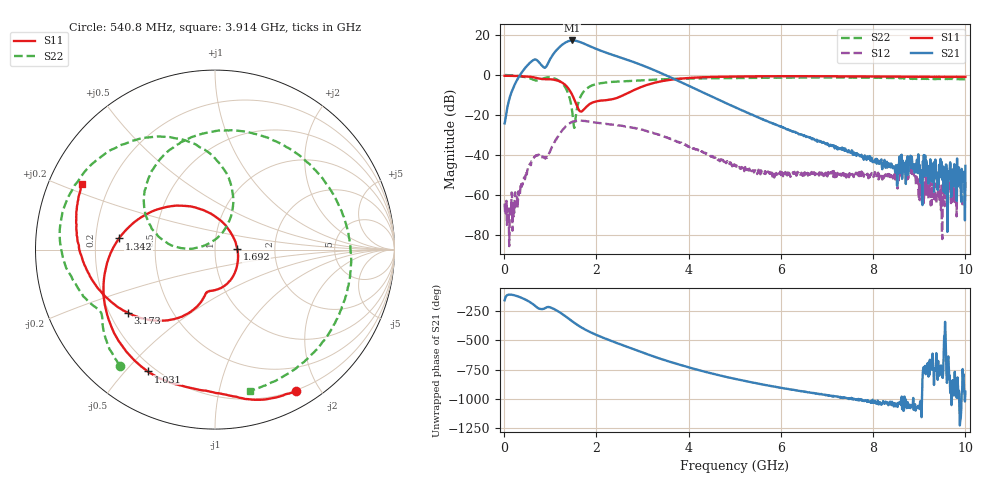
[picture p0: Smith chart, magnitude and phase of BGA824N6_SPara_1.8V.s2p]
!Product: BGA824N6
!Optimize for 1550 - 1615 MHz
!Port Description: Port1: RFIN / Port2: RFOUT
!VDD = 1.8V
!PON = 1.8V
!Keysight Technologies,N5247B
!12/27/2021 12:11:12 PM
# Hz S dB R 50
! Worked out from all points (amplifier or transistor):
!   999 points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, 10.31 MHz to 10 GHz, reference 50 ohm
!   highest |S21| = 17.3 dB at 1.472 GHz (marker M1)
!   |S21| within 3 dB of that: 1.215 GHz to 1.872 GHz (656.5 MHz wide, 42.5 % of centre)
!   unconditionally stable (mu >= 1): start of sweep to end of sweep
!   at 1.672 GHz: K = 1.19, MAG = 17.0 dB, |S12| = -22.9 dB
!   at 5.005 GHz: K = 28.48, MAG = -2.9 dB, |S12| = -45.4 dB
!   at 10 GHz: K = 3554.91, MAG = -34.5 dB, |S12| = -53.5 dB
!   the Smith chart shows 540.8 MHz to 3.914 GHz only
!   S11 on the Smith chart (normalised r, x): 540.8 MHz: 0.19, -1.71; 1.031 GHz: 0.17, -0.58; 1.342 GHz: 0.30, +0.05; 1.692 GHz: 1.28, +0.01; 3.173 GHz: 0.28, -0.30; 3.914 GHz: 0.10, +0.23
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1.030971e7  -0.41 -1.0  -24.23 -158.1  -64.43 24.1  -0.01 -2.8
5.408243e8  -0.83 -60.1  5.70 -169.2  -45.29 128.5  -1.55 -129.5
7.209991e8  -1.63 -81.7  7.22 138.6  -40.46 78.7  -2.74 -152.5
8.511253e8  -2.07 -94.7  4.02 128.3  -41.09 63.7  -1.77 -169.7
1.0313e9  -2.21 -118.9  9.23 136.5  -36.44 81.3  -1.38 153.5
1.181446e9  -2.99 -146.9  13.57 104.7  -30.27 57.6  -2.73 121.2
1.341601e9  -5.37 173.4  16.42 62.3  -25.64 21.0  -6.88 84.0
1.471727e9  -9.74 131.2  17.30 24.1  -23.46 -13.3  -17.61 64.0
1.561815e9  -14.51 91.2  17.10 -1.3  -22.99 -36.3  -19.30 175.3
1.681931e9  -18.30 7.7  16.19 -31.4  -22.96 -64.0  -9.73 166.7
1.691941e9  -18.08 1.0  16.10 -33.7  -22.94 -65.9  -9.40 164.8
1.912155e9  -13.84 -71.2  13.89 -78.0  -23.56 -105.9  -5.20 131.5
2.092329e9  -12.88 -91.7  12.21 -108.5  -24.09 -133.1  -4.11 108.7
2.282514e9  -12.38 -100.4  10.62 -138.4  -24.72 -159.5  -3.55 87.8
2.74296e9  -8.39 -112.3  7.00 152.9  -26.23 138.5  -2.98 42.6
3.173378e9  -4.46 -144.0  3.18 91.9  -28.83 84.4  -2.45 1.5
3.343543e9  -3.44 -158.6  1.51 69.0  -29.74 64.3  -2.28 -15.8
3.914096e9  -1.65 153.7  -4.48 -0.5  -35.02 5.2  -1.84 -76.0
5.015165e9  -0.76 73.7  -16.23 -108.9  -45.54 -69.0  -1.51 172.0
6.676776e9  -0.62 -34.9  -32.25 132.6  -49.52 -111.4  -1.31 44.5
8.338388e9  -0.81 -150.6  -44.21 42.1  -49.58 146.1  -1.53 -58.2
1e10  -0.94 83.4  -45.52 142.2  -53.52 -169.1  -2.27 -164.5
